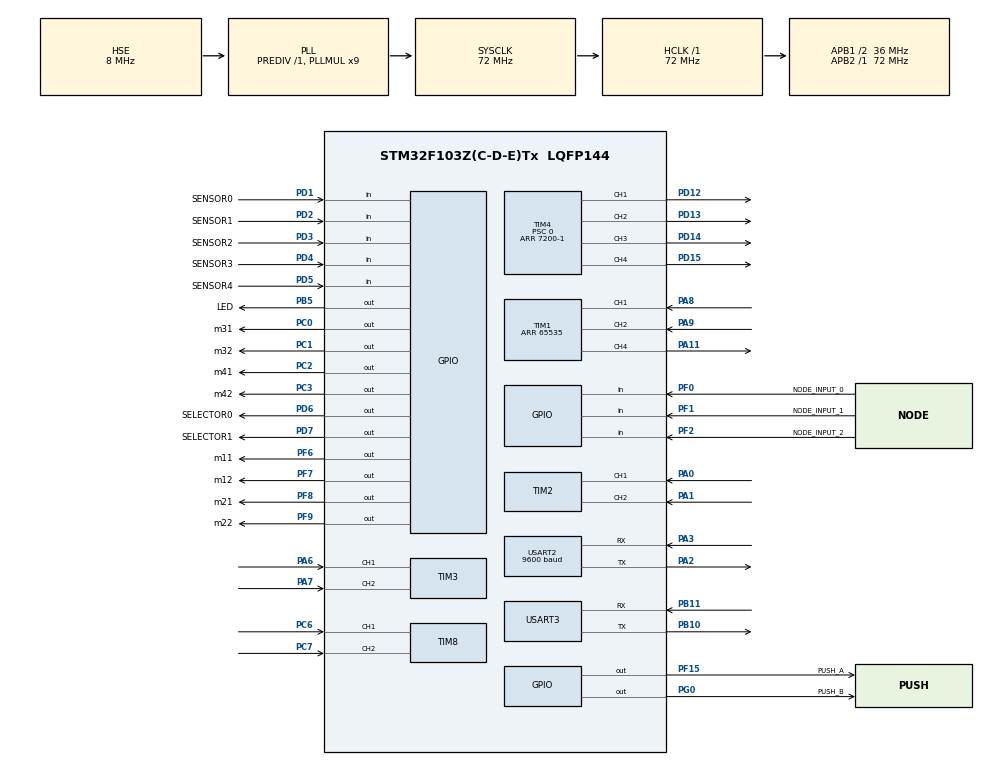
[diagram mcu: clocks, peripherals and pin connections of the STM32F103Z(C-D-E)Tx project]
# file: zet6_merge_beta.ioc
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Mcu.Family=STM32F1
Mcu.Name=STM32F103Z(C-D-E)Tx
Mcu.Package=LQFP144
NVIC.PriorityGroup=NVIC_PRIORITYGROUP_2
NVIC.TIM6_IRQn=true\:1\:0\:true\:false\:true\:true\:true\:true
NVIC.USART2_IRQn=true\:3\:0\:true\:false\:true\:true\:true\:true
OSC_IN.Mode=HSE-External-Oscillator
OSC_IN.Signal=RCC_OSC_IN
OSC_OUT.Mode=HSE-External-Oscillator
OSC_OUT.Signal=RCC_OSC_OUT
PA0-WKUP.Signal=S_TIM2_CH1_ETR
PA1.Signal=S_TIM2_CH2
PA11.Signal=S_TIM1_CH4
PA13.Mode=Serial_Wire
PA13.Signal=SYS_JTMS-SWDIO
PA14.Mode=Serial_Wire
PA14.Signal=SYS_JTCK-SWCLK
PA2.Mode=Asynchronous
PA2.Signal=USART2_TX
PA3.Mode=Asynchronous
PA3.Signal=USART2_RX
PA6.Signal=S_TIM3_CH1
PA7.Signal=S_TIM3_CH2
PA8.Signal=S_TIM1_CH1
PA9.Signal=S_TIM1_CH2
PB10.Mode=Asynchronous
PB10.Signal=USART3_TX
PB11.Mode=Asynchronous
PB11.Signal=USART3_RX
PB5.GPIO_Label=LED
PB5.PinState=GPIO_PIN_SET
PB5.Signal=GPIO_Output
PC0.GPIO_Label=m31
PC0.Signal=GPIO_Output
PC1.GPIO_Label=m32
PC1.Signal=GPIO_Output
PC14-OSC32_IN.Mode=LSE-External-Oscillator
PC14-OSC32_IN.Signal=RCC_OSC32_IN
PC15-OSC32_OUT.Mode=LSE-External-Oscillator
PC15-OSC32_OUT.Signal=RCC_OSC32_OUT
PC2.GPIO_Label=m41
PC2.Signal=GPIO_Output
PC3.GPIO_Label=m42
PC3.Signal=GPIO_Output
PC6.Signal=S_TIM8_CH1
PC7.Signal=S_TIM8_CH2
PD1.GPIO_Label=SENSOR0
PD1.Signal=GPIO_Input
PD12.Signal=S_TIM4_CH1
PD13.Signal=S_TIM4_CH2
PD14.Signal=S_TIM4_CH3
PD15.Signal=S_TIM4_CH4
PD2.GPIO_Label=SENSOR1
PD2.Signal=GPIO_Input
PD3.GPIO_Label=SENSOR2
PD3.Signal=GPIO_Input
PD4.GPIO_Label=SENSOR3
PD4.Signal=GPIO_Input
PD5.GPIO_Label=SENSOR4
PD5.Signal=GPIO_Input
PD6.GPIO_Label=SELECTOR0
PD6.GPIO_Speed=GPIO_SPEED_FREQ_HIGH
PD6.PinState=GPIO_PIN_SET
PD6.Signal=GPIO_Output
PD7.GPIO_Label=SELECTOR1
PD7.GPIO_Speed=GPIO_SPEED_FREQ_HIGH
PD7.PinState=GPIO_PIN_SET
PD7.Signal=GPIO_Output
PF0.GPIO_Label=NODE_INPUT_0
PF0.Signal=GPIO_Input
PF1.GPIO_Label=NODE_INPUT_1
PF1.Signal=GPIO_Input
PF15.GPIO_Label=PUSH_A
PF15.GPIO_ModeDefaultOutputPP=GPIO_MODE_OUTPUT_PP
PF15.GPIO_Speed=GPIO_SPEED_FREQ_HIGH
PF15.PinState=GPIO_PIN_SET
PF15.Signal=GPIO_Output
PF2.GPIO_Label=NODE_INPUT_2
PF2.Signal=GPIO_Input
PF6.GPIO_Label=m11
PF6.Signal=GPIO_Output
PF7.GPIO_Label=m12
PF7.Signal=GPIO_Output
PF8.GPIO_Label=m21
PF8.Signal=GPIO_Output
PF9.GPIO_Label=m22
PF9.Signal=GPIO_Output
PG0.GPIO_Label=PUSH_B
PG0.GPIO_Speed=GPIO_SPEED_FREQ_HIGH
PG0.PinState=GPIO_PIN_SET
PG0.Signal=GPIO_Output
ProjectManager.HeapSize=0x200
ProjectManager.StackSize=0x400
ProjectManager.TargetToolchain=MDK-ARM V5.32
RCC.AHBFreq_Value=72000000
RCC.APB1CLKDivider=RCC_HCLK_DIV2
RCC.APB1Freq_Value=36000000
RCC.APB1TimFreq_Value=72000000
RCC.APB2Freq_Value=72000000
RCC.APB2TimFreq_Value=72000000
RCC.HCLKFreq_Value=72000000
RCC.PLLMUL=RCC_PLL_MUL9
RCC.PLLSourceVirtual=RCC_PLLSOURCE_HSE
RCC.SYSCLKFreq_VALUE=72000000
RCC.SYSCLKSource=RCC_SYSCLKSOURCE_PLLCLK
RCC.USBFreq_Value=72000000
SH.S_TIM1_CH1.0=TIM1_CH1,Encoder_Interface
SH.S_TIM1_CH2.0=TIM1_CH2,Encoder_Interface
SH.S_TIM1_CH4.0=TIM1_CH4,PWM Generation4 CH4
SH.S_TIM2_CH1_ETR.0=TIM2_CH1,Encoder_Interface
SH.S_TIM2_CH2.0=TIM2_CH2,Encoder_Interface
SH.S_TIM3_CH1.0=TIM3_CH1,Encoder_Interface
SH.S_TIM3_CH2.0=TIM3_CH2,Encoder_Interface
SH.S_TIM4_CH1.0=TIM4_CH1,PWM Generation1 CH1
SH.S_TIM4_CH2.0=TIM4_CH2,PWM Generation2 CH2
SH.S_TIM4_CH3.0=TIM4_CH3,PWM Generation3 CH3
SH.S_TIM4_CH4.0=TIM4_CH4,PWM Generation4 CH4
SH.S_TIM8_CH1.0=TIM8_CH1,Encoder_Interface
SH.S_TIM8_CH2.0=TIM8_CH2,Encoder_Interface
TIM1.AutoReloadPreload=TIM_AUTORELOAD_PRELOAD_ENABLE
TIM1.Channel-PWM\ Generation4\ CH4=TIM_CHANNEL_4
TIM1.EncoderMode=TIM_ENCODERMODE_TI12
TIM1.IC1Filter=10
TIM1.IC2Filter=10
TIM1.Period=65535
TIM2.AutoReloadPreload=TIM_AUTORELOAD_PRELOAD_ENABLE
TIM2.EncoderMode=TIM_ENCODERMODE_TI12
TIM2.IC1Filter=10
TIM2.IC2Filter=10
TIM3.AutoReloadPreload=TIM_AUTORELOAD_PRELOAD_ENABLE
TIM3.EncoderMode=TIM_ENCODERMODE_TI12
TIM3.IC1Filter=10
TIM3.IC2Filter=10
TIM4.AutoReloadPreload=TIM_AUTORELOAD_PRELOAD_ENABLE
TIM4.Channel-PWM\ Generation1\ CH1=TIM_CHANNEL_1
TIM4.Channel-PWM\ Generation2\ CH2=TIM_CHANNEL_2
TIM4.Channel-PWM\ Generation3\ CH3=TIM_CHANNEL_3
TIM4.Channel-PWM\ Generation4\ CH4=TIM_CHANNEL_4
TIM4.Period=7200-1
TIM4.Prescaler=0
TIM6.AutoReloadPreload=TIM_AUTORELOAD_PRELOAD_ENABLE
TIM6.Period=1000-1
TIM6.Prescaler=72-1
TIM8.AutoReloadPreload=TIM_AUTORELOAD_PRELOAD_ENABLE
TIM8.EncoderMode=TIM_ENCODERMODE_TI12
TIM8.IC1Filter=10
TIM8.IC2Filter=10
USART2.BaudRate=9600
USART2.VirtualMode=VM_ASYNC
USART3.VirtualMode=VM_ASYNC
VP_TIM4_VS_ClockSourceINT.Mode=Internal
VP_TIM6_VS_ClockSourceINT.Mode=Enable_Timer
board=custom

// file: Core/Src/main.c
/* USER CODE BEGIN Header */
/**
  ******************************************************************************
  * @file           : main.c
  * @brief          : Main program body
  ******************************************************************************
  * @attention
  *
  * <h2><center>&copy; Copyright (c) 2022 STMicroelectronics.
  * All rights reserved.</center></h2>
  *
  * This software component is licensed by ST under BSD 3-Clause license,
  * the "License"; You may not use this file except in compliance with the
  * License. You may obtain a copy of the License at:
  *                        opensource.org/licenses/BSD-3-Clause
  *
  ******************************************************************************
  */
/* USER CODE END Header */
#include "main.h"
#include "tim.h"
#include "usart.h"
#include "gpio.h"

/* USER CODE BEGIN Includes */
#include "common.h"
#include "plan.h"
#include "initialize.h"
/*following .h files are all in need in test process */
#include "path.h"
#include "tracer.h"
#include "chassis.h"
#include "connectivity.h"
/* USER CODE END Includes */

void SystemClock_Config(void);

int main(void)
{

  /* MCU Configuration--------------------------------------------------------*/

  /* Reset of all peripherals, Initializes the Flash interface and the Systick. */
  HAL_Init();

  /* Configure the system clock */
  SystemClock_Config();

  /* Initialize all configured peripherals */
  MX_GPIO_Init();
  MX_TIM1_Init();
  MX_TIM2_Init();
  MX_TIM3_Init();
  MX_TIM4_Init();
  MX_TIM6_Init();
  MX_TIM8_Init();
  MX_USART2_UART_Init();
  MX_USART3_UART_Init();
  /* USER CODE BEGIN 2 */
	//启动时钟中断
	HAL_TIM_Base_Start_IT(&htim6);
	//启动uart2的空闲接�?
	HAL_NVIC_EnableIRQ(USART2_IRQn);
	HAL_NVIC_SetPriority(USART2_IRQn,3,3);
	__HAL_UART_ENABLE_IT(&huart2,UART_IT_RXNE);
	__HAL_UART_ENABLE_IT(&huart2,UART_IT_IDLE);

  /* USER CODE END 2 */

  /* Infinite loop */
  /* USER CODE BEGIN WHILE */

  /*initialize motor related variables*/
  motorInit();
  /*tracer_t & patrol_t initialization*/
  tracerInit();

#ifdef __DEBUG
  printText("START\t"); /*start testing*/
#endif

#if (STATIC_DEBUG==0)

  #if (BACKUP_PLAN==0)
    testPath_ver3(); /*全程调试函数,使用视觉*/
  #elif(BACKUP_PLAN==1)
    testPath_ver5();/*全程调试函数,不使用视觉，预先设定好冰壶位�?*/
  #elif(BACKUP_PLAN==2)
    curlingNodeInit();
    testPath_ver6();/*全程调试函数,在开始时通过指定线接高压输入冰壶位置*/
  #endif

  Error_Handler(); /*测试结束后直接停止工作，不进循环*/
#endif

  while (1)/*infinite loop*/
  {
#if (STATIC_DEBUG==1) /*让小车在静止时调试*/
  testSensors();

#endif
    /* USER CODE END WHILE */

  }
}

void SystemClock_Config(void)
{
  RCC_OscInitTypeDef RCC_OscInitStruct = {0};
  RCC_ClkInitTypeDef RCC_ClkInitStruct = {0};

  /** Initializes the RCC Oscillators according to the specified parameters
  * in the RCC_OscInitTypeDef structure.
  */
  RCC_OscInitStruct.OscillatorType = RCC_OSCILLATORTYPE_HSE;
  RCC_OscInitStruct.HSEState = RCC_HSE_ON;
  RCC_OscInitStruct.HSEPredivValue = RCC_HSE_PREDIV_DIV1;
  RCC_OscInitStruct.HSIState = RCC_HSI_ON;
  RCC_OscInitStruct.PLL.PLLState = RCC_PLL_ON;
  RCC_OscInitStruct.PLL.PLLSource = RCC_PLLSOURCE_HSE;
  RCC_OscInitStruct.PLL.PLLMUL = RCC_PLL_MUL9;
  if (HAL_RCC_OscConfig(&RCC_OscInitStruct) != HAL_OK)
  {
    Error_Handler();
  }

  /** Initializes the CPU, AHB and APB buses clocks
  */
  RCC_ClkInitStruct.ClockType = RCC_CLOCKTYPE_HCLK|RCC_CLOCKTYPE_SYSCLK
                              |RCC_CLOCKTYPE_PCLK1|RCC_CLOCKTYPE_PCLK2;
  RCC_ClkInitStruct.SYSCLKSource = RCC_SYSCLKSOURCE_PLLCLK;
  RCC_ClkInitStruct.AHBCLKDivider = RCC_SYSCLK_DIV1;
  RCC_ClkInitStruct.APB1CLKDivider = RCC_HCLK_DIV2;
  RCC_ClkInitStruct.APB2CLKDivider = RCC_HCLK_DIV1;

  if (HAL_RCC_ClockConfig(&RCC_ClkInitStruct, FLASH_LATENCY_2) != HAL_OK)
  {
    Error_Handler();
  }
}

void Error_Handler(void)
{
  /* USER CODE BEGIN Error_Handler_Debug */
  /* User can add his own implementation to report the HAL error return state */
  tracerDestrcut();/*保险起见，手动解构所有类对象*/
  __disable_irq();
  while (1)
  {
  }
  /* USER CODE END Error_Handler_Debug */
}
